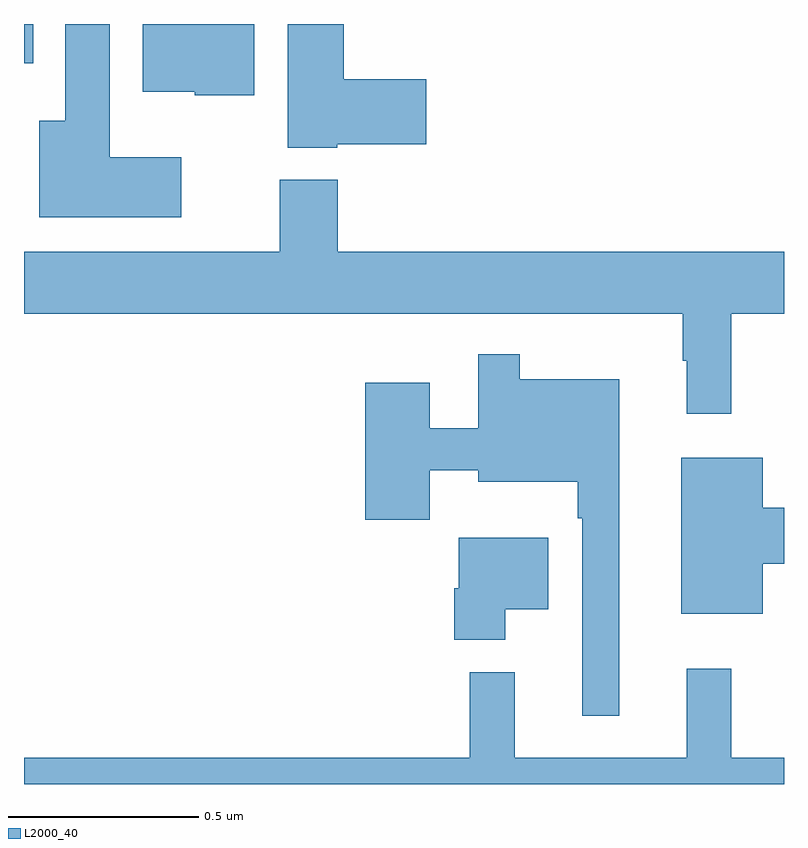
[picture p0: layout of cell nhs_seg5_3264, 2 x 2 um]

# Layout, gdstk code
import gdstk
lib = gdstk.Library(unit=1e-6, precision=1e-09)
def R(c, l, rs):  # rectangles x0, y0, x1, y1
    for r in rs: c.add(gdstk.rectangle(r[:2], r[2:], *l))
def P(c, l, *ps):  # polygons
    for p in ps: c.add(gdstk.Polygon(p, *l))
L2000_40 = (2000, 40)

nhs_seg5_3264 = lib.new_cell('nhs_seg5_3264')
R(nhs_seg5_3264, L2000_40, [(154,914.696,154.024,914.799)])
P(nhs_seg5_3264, L2000_40, [(154.824,914.483),(155.059,914.483),(155.059,914.654),(154.841,914.654),(154.841,914.799),(154.694,914.799),(154.694,914.474),(154.824,914.474)],
  [(154.606,914.799),(154.313,914.799),(154.313,914.621),(154.449,914.621),(154.449,914.612),(154.606,914.612)],
  [(154.414,914.449),(154.225,914.449),(154.225,914.799),(154.109,914.799),(154.109,914.545),(154.04,914.545),(154.04,914.291),(154.414,914.291)],
  [(155.861,914.036),(156,914.036),(156,914.2),(154.826,914.2),(154.826,914.389),(154.673,914.389),(154.673,914.2),(154,914.2),(154,914.036),(155.733,914.036),(155.733,913.913),(155.744,913.913),(155.744,913.773),(155.861,913.773)],
  [(155.566,913.864),(155.305,913.864),(155.305,913.93),(155.196,913.93),(155.196,913.735),(155.068,913.735),(155.068,913.855),(154.898,913.855),(154.898,913.494),(155.068,913.494),(155.068,913.625),(155.195,913.625),(155.195,913.595),(155.457,913.595),(155.457,913.499),(155.469,913.499),(155.469,912.978),(155.566,912.978)],
  [(155.944,913.379),(156,913.379),(156,913.526),(155.944,913.526),(155.944,913.657),(155.729,913.657),(155.729,913.247),(155.944,913.247)],
  [(155.266,913.259),(155.38,913.259),(155.38,913.447),(155.144,913.447),(155.144,913.314),(155.132,913.314),(155.132,913.178),(155.266,913.178)],
  [(156,912.868),(155.861,912.868),(155.861,913.102),(155.744,913.102),(155.744,912.868),(155.291,912.868),(155.291,913.093),(155.173,913.093),(155.173,912.868),(154,912.868),(154,912.799),(156,912.799)])

lib.write_gds('nhs_seg5_3264.gds')
